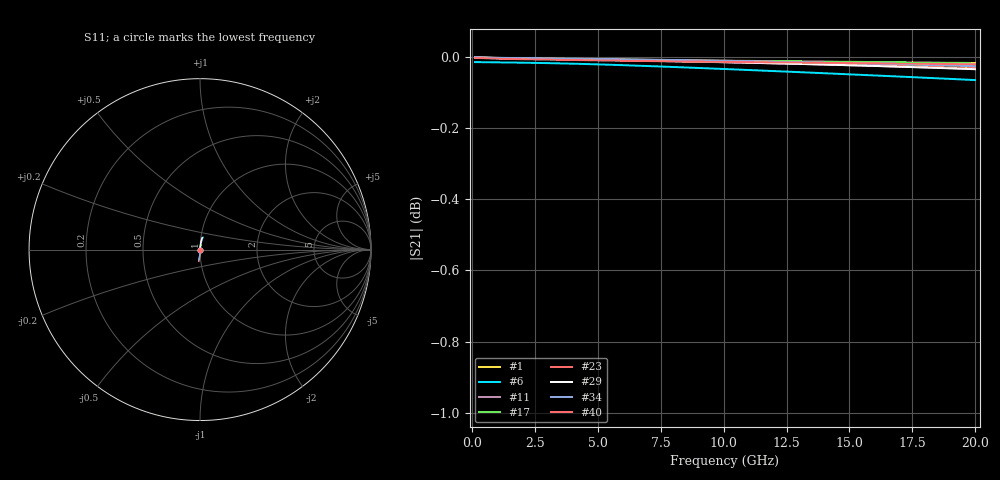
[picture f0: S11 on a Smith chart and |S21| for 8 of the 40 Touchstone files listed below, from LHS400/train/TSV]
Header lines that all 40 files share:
! Touchstone file exported from HFSS 2026.1.0
!  Design:  TSV
! Variables:
! Terminal data exported
# GHz S MA R 50.000000
Fixed: h_bsmrdl = 2um, h_ox = 20um, h_rdl = 5um, h_tmrdl = 5um, h_via = 3um, l_bsmrdl = 300um, l_tmrdl = 200um, m_sub = 200um, s_tmrdl = 10um, w_bsmrdl = 18um, w_sub = 500um, w_tmrdl = 12um, x_tsv_center1 = 206um, x_tsv_center2 = 524um, x_tsv_center3 = 736um, x_tsv_center4 = 1054um, x_tsv_center5 = 1266um, x_tsv_center6 = 1584um
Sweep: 100 MHz to 20 GHz
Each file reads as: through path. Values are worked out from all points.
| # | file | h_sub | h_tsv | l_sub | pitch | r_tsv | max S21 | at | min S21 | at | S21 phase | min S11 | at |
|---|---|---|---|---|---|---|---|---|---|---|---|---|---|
| 1 | dut300.s2p | 68.74um | 68.74um | 413.78um | 37.57um | 6.89um | 0.00 dB | 100 MHz | 0.0 dB | 20 GHz | -4 deg at 10.1 GHz | -71.2 dB | 100 MHz |
| 2 | dut301.s2p | 65.76um | 65.76um | 409.08um | 13.96um | 4.54um | 0.00 dB | 100 MHz | 0.0 dB | 20 GHz | -3 deg at 10.1 GHz | -67.5 dB | 100 MHz |
| 3 | dut302.s2p | 82.93um | 82.93um | 421.48um | 39.75um | 10.74um | 0.00 dB | 100 MHz | 0.0 dB | 20 GHz | -4 deg at 10.1 GHz | -78.4 dB | 100 MHz |
| 4 | dut303.s2p | 52.73um | 52.73um | 422.56um | 58.5um | 11.28um | 0.00 dB | 100 MHz | 0.0 dB | 20 GHz | -3 deg at 10.1 GHz | -75.1 dB | 100 MHz |
| 5 | dut304.s2p | 73.47um | 73.47um | 418.86um | 49.54um | 9.43um | 0.00 dB | 100 MHz | 0.0 dB | 20 GHz | -4 deg at 10.1 GHz | -72.7 dB | 100 MHz |
| 6 | dut305.s2p | 97.91um | 97.91um | 405.24um | 21.95um | 2.62um | -0.01 dB | 100 MHz | -0.1 dB | 20 GHz | -5 deg at 10.1 GHz | -55.4 dB | 100 MHz |
| 7 | dut306.s2p | 86.7um | 86.7um | 412.58um | 58.17um | 6.29um | 0.00 dB | 100 MHz | -0.1 dB | 20 GHz | -5 deg at 10.1 GHz | -64.5 dB | 100 MHz |
| 8 | dut307.s2p | 75.45um | 75.45um | 412.3um | 40.73um | 6.15um | 0.00 dB | 100 MHz | 0.0 dB | 20 GHz | -4 deg at 10.1 GHz | -68.1 dB | 100 MHz |
| 9 | dut308.s2p | 62.4um | 62.4um | 416.88um | 27.06um | 8.44um | 0.00 dB | 100 MHz | 0.0 dB | 20 GHz | -3 deg at 10.1 GHz | -75.5 dB | 100 MHz |
| 10 | dut309.s2p | 61.61um | 61.61um | 408.94um | 11.35um | 4.47um | 0.00 dB | 100 MHz | 0.0 dB | 20 GHz | -3 deg at 10.1 GHz | -66.6 dB | 100 MHz |
| 11 | dut310.s2p | 89.73um | 89.73um | 416.62um | 57.67um | 8.31um | 0.00 dB | 100 MHz | 0.0 dB | 20 GHz | -5 deg at 10.1 GHz | -67.4 dB | 100 MHz |
| 12 | dut311.s2p | 82.59um | 82.59um | 407um | 40.9um | 3.5um | -0.01 dB | 100 MHz | -0.1 dB | 20 GHz | -5 deg at 10.1 GHz | -60.3 dB | 100 MHz |
| 13 | dut312.s2p | 99.87um | 99.87um | 424.44um | 39.39um | 12.22um | 0.00 dB | 100 MHz | 0.0 dB | 20 GHz | -5 deg at 10.1 GHz | -74.5 dB | 100 MHz |
| 14 | dut313.s2p | 54.22um | 54.22um | 418.08um | 31.73um | 9.04um | 0.00 dB | 100 MHz | 0.0 dB | 20 GHz | -3 deg at 10.1 GHz | -78.5 dB | 100 MHz |
| 15 | dut314.s2p | 61.15um | 61.15um | 419.02um | 22.14um | 9.51um | 0.00 dB | 100 MHz | -0.1 dB | 20 GHz | -4 deg at 10.1 GHz | -67.3 dB | 100 MHz |
| 16 | dut315.s2p | 72.54um | 72.54um | 412.06um | 59.09um | 6.03um | 0.00 dB | 100 MHz | 0.0 dB | 20 GHz | -5 deg at 10.1 GHz | -65.1 dB | 100 MHz |
| 17 | dut316.s2p | 88.12um | 88.12um | 415.84um | 41.17um | 7.92um | 0.00 dB | 100 MHz | 0.0 dB | 20 GHz | -5 deg at 10.1 GHz | -71.0 dB | 100 MHz |
| 18 | dut317.s2p | 67.35um | 67.35um | 423.88um | 40.76um | 11.94um | 0.00 dB | 100 MHz | 0.0 dB | 20 GHz | -3 deg at 10.1 GHz | -79.3 dB | 100 MHz |
| 19 | dut318.s2p | 97.07um | 97.07um | 421.12um | 26.27um | 10.56um | 0.00 dB | 100 MHz | -0.1 dB | 20 GHz | -6 deg at 10.1 GHz | -65.8 dB | 100 MHz |
| 20 | dut319.s2p | 58.06um | 58.06um | 418.62um | 25.25um | 9.31um | 0.00 dB | 100 MHz | 0.0 dB | 20 GHz | -3 deg at 10.1 GHz | -72.5 dB | 100 MHz |
| 21 | dut320.s2p | 50.55um | 50.55um | 409.34um | 11.04um | 4.67um | 0.00 dB | 100 MHz | 0.0 dB | 20 GHz | -3 deg at 10.1 GHz | -67.5 dB | 100 MHz |
| 22 | dut321.s2p | 68.04um | 68.04um | 428.9um | 52.63um | 14.45um | 0.00 dB | 100 MHz | 0.0 dB | 20 GHz | -4 deg at 10.1 GHz | -83.2 dB | 100 MHz |
| 23 | dut322.s2p | 59.92um | 59.92um | 421.78um | 27.33um | 10.89um | 0.00 dB | 100 MHz | 0.0 dB | 20 GHz | -4 deg at 10.1 GHz | -70.0 dB | 100 MHz |
| 24 | dut323.s2p | 80.35um | 80.35um | 424.78um | 38.26um | 12.39um | 0.00 dB | 100 MHz | 0.0 dB | 20 GHz | -4 deg at 10.1 GHz | -74.7 dB | 100 MHz |
| 25 | dut324.s2p | 70.82um | 70.82um | 426.22um | 39.37um | 13.11um | 0.00 dB | 100 MHz | 0.0 dB | 20 GHz | -4 deg at 10.1 GHz | -74.8 dB | 100 MHz |
| 26 | dut325.s2p | 67.18um | 67.18um | 407.5um | 48.77um | 3.75um | -0.01 dB | 100 MHz | -0.1 dB | 20 GHz | -5 deg at 10.1 GHz | -62.1 dB | 100 MHz |
| 27 | dut326.s2p | 73.51um | 73.51um | 406.22um | 53.37um | 3.11um | -0.01 dB | 100 MHz | -0.1 dB | 20 GHz | -6 deg at 10.1 GHz | -58.9 dB | 100 MHz |
| 28 | dut327.s2p | 72.98um | 72.98um | 404.78um | 32.17um | 2.39um | -0.01 dB | 100 MHz | -0.1 dB | 20 GHz | -5 deg at 10.1 GHz | -56.1 dB | 100 MHz |
| 29 | dut328.s2p | 76.14um | 76.14um | 415.6um | 59.69um | 7.8um | 0.00 dB | 100 MHz | 0.0 dB | 20 GHz | -5 deg at 10.1 GHz | -67.3 dB | 100 MHz |
| 30 | dut329.s2p | 64.03um | 64.03um | 409.14um | 12.66um | 4.57um | 0.00 dB | 100 MHz | 0.0 dB | 20 GHz | -3 deg at 10.1 GHz | -67.3 dB | 100 MHz |
| 31 | dut330.s2p | 51.98um | 51.98um | 409.48um | 49.27um | 4.74um | 0.00 dB | 100 MHz | 0.0 dB | 20 GHz | -4 deg at 10.1 GHz | -66.1 dB | 100 MHz |
| 32 | dut331.s2p | 72.31um | 72.31um | 408.9um | 33.66um | 4.45um | 0.00 dB | 100 MHz | 0.0 dB | 20 GHz | -4 deg at 10.1 GHz | -65.2 dB | 100 MHz |
| 33 | dut332.s2p | 93.57um | 93.57um | 414.6um | 49.41um | 7.3um | 0.00 dB | 100 MHz | 0.0 dB | 20 GHz | -5 deg at 10.1 GHz | -67.2 dB | 100 MHz |
| 34 | dut333.s2p | 68.44um | 68.44um | 428.44um | 38.21um | 14.22um | 0.00 dB | 100 MHz | 0.0 dB | 20 GHz | -4 deg at 10.1 GHz | -71.2 dB | 100 MHz |
| 35 | dut334.s2p | 76.57um | 76.57um | 422.46um | 54.46um | 11.23um | 0.00 dB | 100 MHz | 0.0 dB | 20 GHz | -4 deg at 10.1 GHz | -74.5 dB | 100 MHz |
| 36 | dut335.s2p | 90.34um | 90.34um | 408.34um | 45.52um | 4.17um | -0.01 dB | 100 MHz | -0.1 dB | 20 GHz | -6 deg at 10.1 GHz | -61.5 dB | 100 MHz |
| 37 | dut336.s2p | 76.33um | 76.33um | 427.6um | 44.2um | 13.8um | 0.00 dB | 100 MHz | 0.0 dB | 20 GHz | -4 deg at 10.1 GHz | -76.9 dB | 100 MHz |
| 38 | dut337.s2p | 71.62um | 71.62um | 411.46um | 37.25um | 5.73um | 0.00 dB | 100 MHz | 0.0 dB | 20 GHz | -4 deg at 10.1 GHz | -68.1 dB | 100 MHz |
| 39 | dut338.s2p | 57.59um | 57.59um | 410.62um | 45.78um | 5.31um | 0.00 dB | 100 MHz | 0.0 dB | 20 GHz | -4 deg at 10.1 GHz | -67.1 dB | 100 MHz |
| 40 | dut339.s2p | 97.48um | 97.48um | 413.74um | 25.45um | 6.87um | 0.00 dB | 100 MHz | 0.0 dB | 20 GHz | -5 deg at 10.1 GHz | -71.0 dB | 100 MHz |
